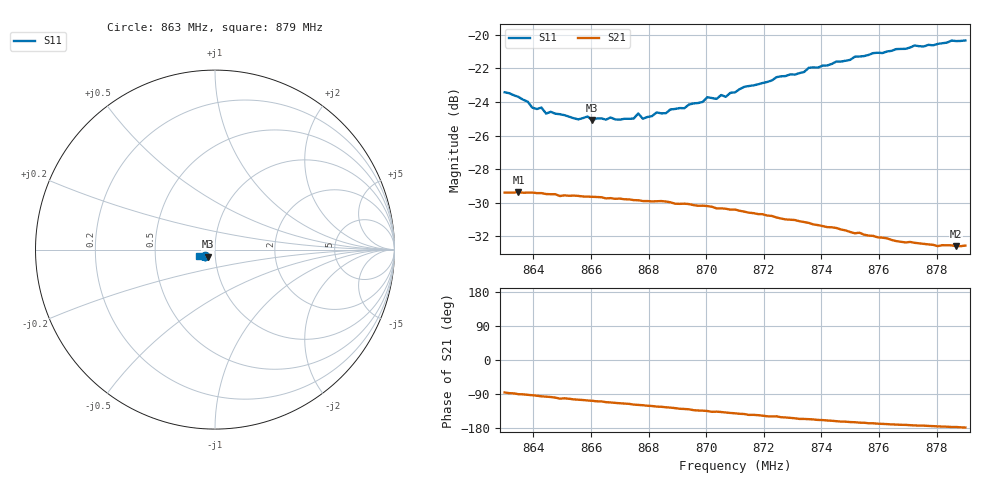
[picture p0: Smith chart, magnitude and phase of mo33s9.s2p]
# HZ S RI R 50
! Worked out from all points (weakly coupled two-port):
!   101 points, 863 MHz to 879 MHz, reference 50 ohm
!   highest |S21| = -29.37 dB at 863.48 MHz (marker M1); lowest = -32.6 dB at 878.68 MHz (marker M2)
!   lowest |S11| = -25.1 dB at 866.04 MHz (marker M3), VSWR 1.12, Z = 46.1 - j3.64 ohm
!   |S11| at or under -10 dB: start of sweep to end of sweep
!   S12 and S22 are empty: the file has one direction only
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8.63e8  -0.0555 -0.0383  0.00258 -0.0338  0 0  0 0
8.6348e8  -0.053 -0.0382  -0.000103 -0.034  0 0  0 0
8.638e8  -0.0508 -0.0377  -0.0011 -0.0339  0 0  0 0
8.6396e8  -0.0484 -0.0366  -0.00178 -0.0339  0 0  0 0
8.6428e8  -0.0466 -0.039  -0.00347 -0.0336  0 0  0 0
8.6444e8  -0.046 -0.0358  -0.00394 -0.0333  0 0  0 0
8.6572e8  -0.0401 -0.0398  -0.00887 -0.0318  0 0  0 0
8.6588e8  -0.0415 -0.0393  -0.00952 -0.0316  0 0  0 0
8.6604e8  -0.0394 -0.0394  -0.01 -0.0314  0 0  0 0
8.6748e8  -0.0358 -0.0435  -0.0149 -0.0285  0 0  0 0
8.6764e8  -0.0367 -0.0454  -0.0154 -0.0283  0 0  0 0
8.678e8  -0.0358 -0.0433  -0.0157 -0.0279  0 0  0 0
8.6844e8  -0.0359 -0.0461  -0.0176 -0.0267  0 0  0 0
8.6988e8  -0.0375 -0.0508  -0.0214 -0.0224  0 0  0 0
8.7004e8  -0.0389 -0.0523  -0.0217 -0.022  0 0  0 0
8.7036e8  -0.0384 -0.0517  -0.022 -0.021  0 0  0 0
8.71e8  -0.0397 -0.0545  -0.0234 -0.0191  0 0  0 0
8.7132e8  -0.0434 -0.0549  -0.0236 -0.0181  0 0  0 0
8.7372e8  -0.0546 -0.0584  -0.0251 -0.0107  0 0  0 0
8.7644e8  -0.0737 -0.051  -0.0241 -0.00424  0 0  0 0
8.7868e8  -0.0881 -0.0374  -0.0234 -0.00133  0 0  0 0
8.79e8  -0.089 -0.0364  -0.0236 -0.000723  0 0  0 0
